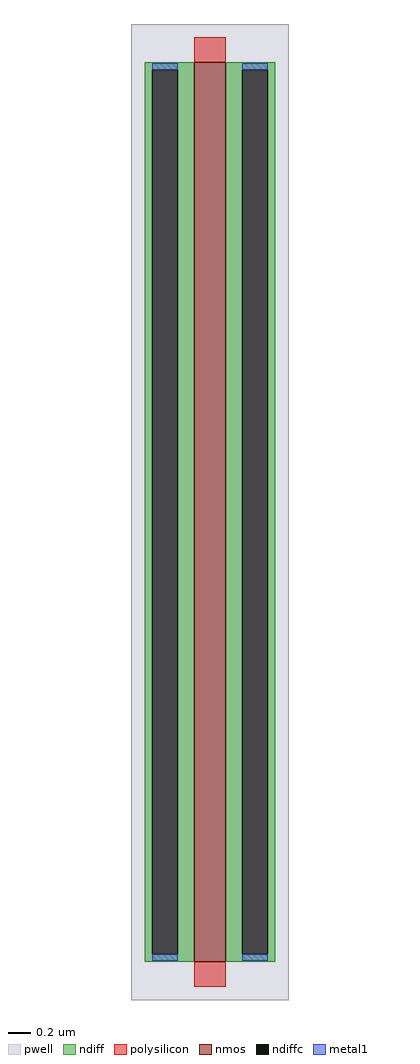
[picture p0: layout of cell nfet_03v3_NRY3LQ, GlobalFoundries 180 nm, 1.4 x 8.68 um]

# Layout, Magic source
magic
tech gf180mcuD
magscale 1 10
<< pwell >>
rect -140 -868 140 868
<< nmos >>
rect -28 -800 28 800
<< ndiff >>
rect -116 787 -28 800
rect -116 -787 -103 787
rect -57 -787 -28 787
rect -116 -800 -28 -787
rect 28 787 116 800
rect 28 -787 57 787
rect 103 -787 116 787
rect 28 -800 116 -787
<< ndiffc >>
rect -103 -787 -57 787
rect 57 -787 103 787
<< polysilicon >>
rect -28 800 28 844
rect -28 -844 28 -800
<< metal1 >>
rect -103 787 -57 798
rect -103 -798 -57 -787
rect 57 787 103 798
rect 57 -798 103 -787
<< properties >>
string gencell nfet_03v3
string library gf180mcu
string parameters w 8 l 0.28 m 1 nf 1 diffcov 100 polycov 100 guard 0 glc 0 grc 0 gtc 0 gbc 0 tbcov 100 rlcov 100 topc 0 botc 0 poverlap 0 doverlap 0 lmin 0.28 wmin 0.22 class mosfet full_metal 0 compatible {nfet_03v3 nfet_06v0 nfet_06v0_nvt}
<< end >>
